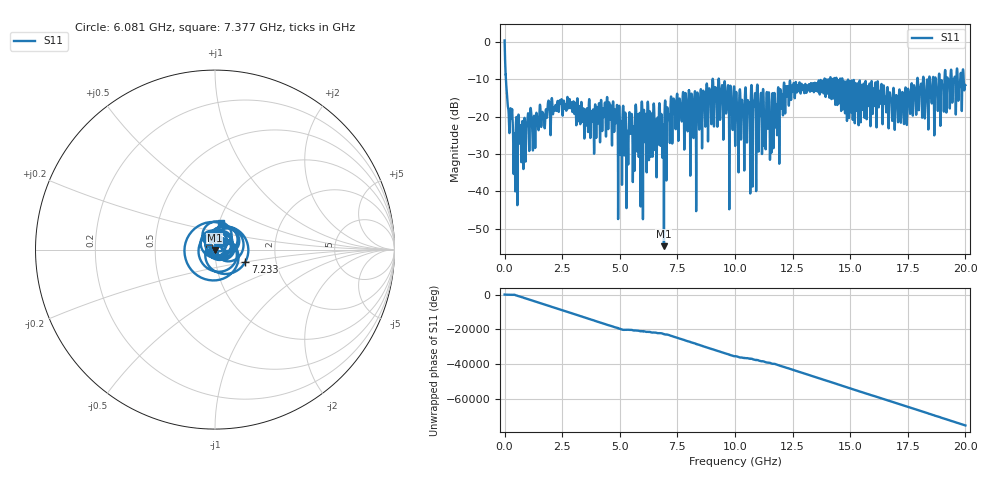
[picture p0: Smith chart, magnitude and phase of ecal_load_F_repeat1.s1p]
! MS46122B
! 2250307/22442219
! 7/28/2025 2:06:48 PM
! C:\USERS\SPARKY\DOCUMENTS\VNA_DATA\JULY28_2025\3K\ECAL_LOAD_F_REPEAT1.S1P
! CHANNEL.1
! TR.MEASUREMENT
! RAW.DATA
# GHZ S RI R 50.0
! FREQ.GHZ  S11RE  S11IM
!; PortSelection: Port_1
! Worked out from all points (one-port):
!   10001 points, 1 MHz to 20 GHz, reference 50 ohm
!   lowest |S11| = -54.7 dB at 6.917 GHz (marker M1), VSWR 1.00, Z = 49.9 - j0.166 ohm
!   |S11| at or under -10 dB: 57.38 MHz to 9.027 GHz (8.969 GHz wide, 197 % of centre); 9.301 GHz to 13.88 GHz (4.579 GHz wide, 39.5 % of centre); 14.66 GHz to 17.91 GHz (3.252 GHz wide, 20 % of centre) (the widest 3 of 23)
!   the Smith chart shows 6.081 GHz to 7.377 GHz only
!   S11 on the Smith chart (normalised r, x): 6.081 GHz: 1.10, -0.07; 7.233 GHz: 1.39, -0.19; 7.377 GHz: 1.03, +0.31
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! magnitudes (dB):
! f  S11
! 1 MHz  0.4
! 145 MHz  -17.3
! 469 MHz  -34.1
! 585 MHz  -21.0
! 821 MHz  -32.8
! 1.075 GHz  -28.5
! 1.269 GHz  -20.3
! 1.869 GHz  -17.4
! 2.501 GHz  -17.6
! 3.807 GHz  -21.1
! 4.529 GHz  -16.8
! 5.001 GHz  -20.5
! 6.081 GHz  -24.5
! 6.917 GHz  -54.7
! 7.233 GHz  -14.8
! 7.377 GHz  -16.5
! 7.501 GHz  -14.3
! 8.389 GHz  -14.6
! 9.101 GHz  -18.3
! 10 GHz  -22.6
! 10.08 GHz  -17.2
! 10.84 GHz  -16.8
! 10.9 GHz  -17.5
! 11.59 GHz  -20.0
! 12.5 GHz  -13.1
! 15 GHz  -11.1
! 17.5 GHz  -12.9
! 20 GHz  -11.6
